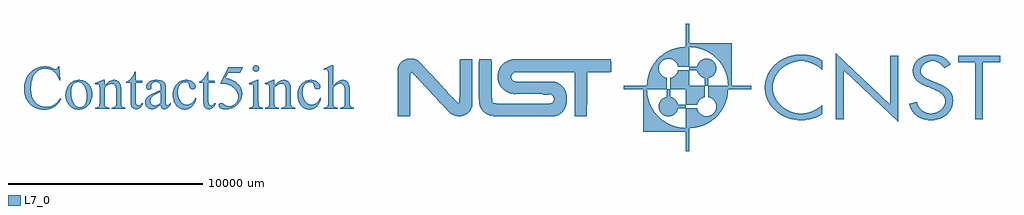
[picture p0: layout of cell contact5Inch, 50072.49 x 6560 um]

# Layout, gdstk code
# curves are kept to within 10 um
import gdstk
lib = gdstk.Library(unit=1e-6, precision=1e-09)
def P(c, l, *ps):  # polygons
    for p in ps: c.add(gdstk.Polygon(p, *l))
L7_0 = (7, 0)

contact5inch = lib.new_cell('contact5Inch')
P(contact5inch, L7_0, [(-5661.344,-58043.75),(-5850.522,-58018.573),(-6028.047,-57932.812),(-5521.695,-57925),(-5396.695,-57862.5),(-5310.703,-57754.62),(-5270.328,-57637.891),(-5251.871,-57519.238),(-5255.973,-57197.656),(-5309.806,-56965.039),(-5423.886,-56759.961),(-5501.554,-56686.719),(-5591.123,-56642.773),(-5692.594,-56628.125),(-5796.415,-56647.351),(-5879.398,-56690.808),(-5950.98,-56767.859),(-6006.241,-56881.958),(-6032.828,-56991.016),(-6045.719,-57167.187),(-6033.588,-57354.108),(-5997.196,-57524.243),(-5950.614,-57648.267),(-5872.144,-57783.246),(-5797.705,-57861.127),(-5713.404,-57910.687),(-5594.156,-57932.812),(-6028.047,-57932.812),(-6099.253,-57873.553),(-6213.126,-57730.811),(-6285.422,-57585.73),(-6326.285,-57430.273),(-6334.818,-57249.255),(-6311.93,-57102.148),(-6261.576,-56955.701),(-6186.002,-56816.113),(-6092.508,-56703.54),(-5981.656,-56619.531),(-5859.488,-56562.878),(-5732.047,-56532.373),(-5604.032,-56527.527),(-5453.543,-56550.671),(-5351.187,-56588.281),(-5228.727,-56665.43),(-5122.281,-56773.437),(-5049.137,-56882.812),(-4987.094,-57030.518),(-4960.971,-57157.471),(-4956.534,-57305.933),(-4978.141,-57451.172),(-5025.675,-57597.729),(-5097.721,-57739.258),(-5189.676,-57855.127),(-5261.844,-57917.236),(-5384.342,-57987.5),(-5517.679,-58029.687)],
  [(-4801.969,-58000),(-4801.969,-57943.75),(-4661.771,-57922.083),(-4623.062,-57888.281),(-4599.735,-57832.507),(-4585.379,-57714.05),(-4585.514,-57029.004),(-4593.753,-56848.462),(-4621.109,-56767.09),(-4697.281,-56734.375),(-4801.969,-56757.812),(-4825.406,-56701.562),(-4394.156,-56526.562),(-4326.969,-56526.562),(-4326.969,-56829.687),(-4141.593,-56644.971),(-3962.809,-56545.508),(-3875.888,-56527.747),(-3790.738,-56530.225),(-3689.957,-56559.521),(-3625.162,-56600.989),(-3538.492,-56715.674),(-3485.562,-56896.875),(-3464.664,-57831.25),(-3445.182,-57879.395),(-3399.625,-57921.875),(-3258.219,-57943.75),(-3258.219,-58000),(-3966.031,-58000),(-3966.031,-57943.75),(-3834.842,-57931.848),(-3770.023,-57886.365),(-3741.031,-57823.437),(-3734.781,-57676.562),(-3735.575,-57043.469),(-3754.618,-56888.293),(-3815.299,-56768.408),(-3876.2,-56731.165),(-3956.656,-56718.75),(-4049.527,-56731.445),(-4142.203,-56769.531),(-4326.969,-56921.875),(-4317.301,-57832.129),(-4297.818,-57877.393),(-4249.625,-57922.656),(-4094.156,-57943.75),(-4094.156,-58000)],
  [(-1900.469,-58029.687),(-1971.416,-58023.34),(-2065.569,-57990.015),(-2145,-57928.125),(-2200.572,-57848.437),(-1709.551,-57842.944),(-1578.984,-57787.402),(-1444.219,-57692.187),(-1444.219,-57146.875),(-1806.23,-57314.453),(-1894.512,-57386.328),(-1957.842,-57481.665),(-1977.544,-57615.027),(-1940.801,-57734.717),(-1858.159,-57819.446),(-1756.719,-57848.437),(-2200.572,-57848.437),(-2239.592,-57701.343),(-2222.783,-57541.064),(-2156.279,-57427.344),(-2009.734,-57303.32),(-1823.064,-57203.662),(-1444.219,-57051.562),(-1461.211,-56814.844),(-1503.957,-56712.048),(-1571.843,-56653.003),(-1678.386,-56623.12),(-1798.125,-56635.156),(-1866.094,-56675),(-1910.625,-56732.031),(-1924.541,-56779.932),(-1924.639,-56921.387),(-1942.998,-56976.855),(-1989.788,-57022.241),(-2055.156,-57037.5),(-2119.182,-57021.631),(-2172.063,-56962.231),(-2186.406,-56885.937),(-2172.979,-56804.089),(-2081.133,-56667.529),(-1993.444,-56600.83),(-1907.36,-56562.158),(-1662.969,-56526.562),(-1529.668,-56535.571),(-1415.703,-56562.598),(-1328.179,-56603.589),(-1270.391,-56652.734),(-1202.227,-56784.57),(-1188.164,-56922.07),(-1184.453,-57668.164),(-1168.242,-57792.383),(-1133.477,-57827.344),(-1077.422,-57825.098),(-941.094,-57706.25),(-941.094,-57793.75),(-1070.146,-57936.572),(-1215.154,-58019.885),(-1311.797,-58024.805),(-1385.527,-57987.451),(-1431.719,-57903.125),(-1444.219,-57793.75),(-1720.781,-57990.625),(-1807.891,-58019.922)],
  [(-219.531,-58043.75),(-337.5,-58030.957),(-473.975,-57978.986),(-598.242,-57887.036),(-687.012,-57785.645),(-754.98,-57665.332),(-800.293,-57527.051),(-822.949,-57370.801),(-822.644,-57203.54),(-806.174,-57087.36),(-762.253,-56946.295),(-693.234,-56821.051),(-599.588,-56711.957),(-491.653,-56626.263),(-373.66,-56566.937),(-245.609,-56533.978),(-91.406,-56528.308),(91.406,-56570.203),(235.767,-56666.345),(326.569,-56795.956),(339.844,-56870.312),(330.273,-56924.023),(301.563,-56966.406),(255.664,-56993.945),(131.763,-56994.775),(49.109,-56934.619),(0.195,-56737.5),(-72.949,-56657.617),(-148.73,-56634.18),(-232.642,-56633.057),(-319.586,-56653.381),(-380.573,-56685.901),(-446.094,-56746.875),(-501.465,-56829.59),(-564.746,-57031.934),(-560.373,-57305.844),(-489.621,-57528.256),(-414.05,-57649.866),(-319.919,-57737.955),(-208.545,-57787.744),(-69.238,-57798.364),(38.281,-57773.828),(137.012,-57719.849),(231.763,-57624.927),(335.156,-57434.375),(380.469,-57456.25),(308.649,-57678.738),(248.541,-57783.45),(174.567,-57871.854),(-0.629,-57995.547),(-95.111,-58028.873)],
  [(3089.469,-58000),(3089.469,-57943.75),(3230.094,-57923.437),(3275.65,-57878.027),(3296.354,-57827.441),(3307.34,-57018.848),(3297.452,-56843.188),(3270.719,-56765.576),(3195.719,-56734.375),(3089.469,-56757.812),(3067.594,-56701.562),(3498.844,-56526.562),(3567.594,-56526.562),(3575.223,-57809.436),(3598.063,-57876.318),(3644.938,-57921.875),(3784.781,-57943.75),(3784.781,-58000)],
  [(3905.031,-58000),(3905.031,-57943.75),(4045.229,-57922.083),(4083.938,-57888.281),(4107.265,-57832.507),(4121.621,-57714.05),(4121.486,-57029.004),(4113.247,-56848.462),(4085.891,-56767.09),(4009.719,-56734.375),(3905.031,-56757.812),(3881.594,-56701.562),(4312.844,-56526.562),(4380.031,-56526.562),(4380.031,-56829.687),(4565.407,-56644.971),(4744.191,-56545.508),(4831.112,-56527.747),(4916.262,-56530.225),(5017.043,-56559.521),(5081.838,-56600.989),(5168.508,-56715.674),(5221.438,-56896.875),(5242.336,-57831.25),(5261.818,-57879.395),(5307.375,-57921.875),(5448.781,-57943.75),(5448.781,-58000),(4740.969,-58000),(4740.969,-57943.75),(4872.158,-57931.848),(4936.977,-57886.365),(4965.969,-57823.437),(4972.219,-57676.562),(4971.425,-57043.469),(4952.382,-56888.293),(4891.701,-56768.408),(4830.8,-56731.165),(4750.344,-56718.75),(4657.473,-56731.445),(4564.797,-56769.531),(4380.031,-56921.875),(4389.699,-57832.129),(4409.182,-57877.393),(4457.375,-57922.656),(4612.844,-57943.75),(4612.844,-58000)],
  [(6178.469,-58043.75),(6060.5,-58030.957),(5924.025,-57978.986),(5799.758,-57887.036),(5710.988,-57785.645),(5643.02,-57665.332),(5597.707,-57527.051),(5575.051,-57370.801),(5575.356,-57203.54),(5591.826,-57087.36),(5635.747,-56946.295),(5704.766,-56821.051),(5798.412,-56711.957),(5906.347,-56626.263),(6024.34,-56566.937),(6152.391,-56533.978),(6306.594,-56528.308),(6489.406,-56570.203),(6633.767,-56666.345),(6724.569,-56795.956),(6737.844,-56870.312),(6728.273,-56924.023),(6699.563,-56966.406),(6653.664,-56993.945),(6529.763,-56994.775),(6447.109,-56934.619),(6398.195,-56737.5),(6325.051,-56657.617),(6249.27,-56634.18),(6165.358,-56633.057),(6078.414,-56653.381),(6017.427,-56685.901),(5951.906,-56746.875),(5896.535,-56829.59),(5833.254,-57031.934),(5837.627,-57305.844),(5908.379,-57528.256),(5983.95,-57649.866),(6078.081,-57737.955),(6189.455,-57787.744),(6328.762,-57798.364),(6436.281,-57773.828),(6535.012,-57719.849),(6629.763,-57624.927),(6733.156,-57434.375),(6778.469,-57456.25),(6706.649,-57678.738),(6646.541,-57783.45),(6572.567,-57871.854),(6397.371,-57995.547),(6302.889,-58028.873)],
  [(-2711.344,-58023.437),(-2799.967,-58007.874),(-2884.098,-57961.523),(-2944.767,-57887.549),(-2973.526,-57802.551),(-2986.344,-57640.625),(-2986.344,-56678.125),(-3212.906,-56678.125),(-3212.906,-56626.562),(-3059.525,-56529.919),(-2932.45,-56395.715),(-2857.242,-56279.785),(-2776.969,-56098.437),(-2728.531,-56098.437),(-2728.531,-56568.75),(-2394.156,-56568.75),(-2394.156,-56678.125),(-2728.531,-56678.125),(-2728.531,-57606.25),(-2712.967,-57744.678),(-2655.619,-57823.267),(-2573.502,-57841.687),(-2474.576,-57801.672),(-2411.344,-57715.625),(-2350.406,-57715.625),(-2416.422,-57849.805),(-2480.802,-57925.574),(-2580.973,-57993.225)],
  [(1017.656,-58023.437),(929.033,-58007.874),(844.902,-57961.523),(784.233,-57887.549),(755.474,-57802.551),(742.656,-57640.625),(742.656,-56678.125),(516.094,-56678.125),(516.094,-56626.562),(669.475,-56529.919),(796.55,-56395.715),(871.758,-56279.785),(952.031,-56098.437),(1000.469,-56098.437),(1000.469,-56568.75),(1334.844,-56568.75),(1334.844,-56678.125),(1000.469,-56678.125),(1000.469,-57606.25),(1016.033,-57744.678),(1073.381,-57823.267),(1155.498,-57841.687),(1254.424,-57801.672),(1317.656,-57715.625),(1378.594,-57715.625),(1312.578,-57849.805),(1248.198,-57925.574),(1148.027,-57993.225)],
  [(1891.031,-58037.5),(1726.383,-58021.289),(1613.688,-57972.656),(1560.843,-57922.156),(1532.389,-57867.92),(1527.53,-57818.909),(1547.184,-57769.775),(1603.531,-57727.148),(1691.617,-57721.875),(1916.861,-57844.824),(2036.002,-57875.293),(2154.654,-57867.92),(2277.152,-57822.546),(2403.87,-57720.761),(2490.836,-57584.961),(2524.866,-57426.132),(2508.048,-57261.047),(2455.973,-57127.783),(2401.969,-57042.969),(2334.391,-56964.502),(2211.051,-56864.563),(1968.473,-56754.492),(1800.235,-56721.24),(1597.281,-56704.687),(2003.531,-55881.25),(2762.906,-55881.25),(2641.031,-56146.875),(2003.531,-56146.875),(1864.469,-56431.25),(2060.758,-56473.34),(2235.563,-56538.672),(2388.883,-56627.246),(2489.774,-56708.929),(2591.343,-56821.387),(2662.778,-56939.355),(2715.543,-57100),(2728.531,-57239.062),(2711.539,-57400),(2676.493,-57512.5),(2604.642,-57649.146),(2489.469,-57790.625),(2351.407,-57900.366),(2214.713,-57971.704),(2077.75,-58016.016)],
  [(-7431.281,-58048.437),(-7737.189,-58010.291),(-7948.518,-57924.841),(-8130.158,-57790.564),(-8297.443,-57583.545),(-8394.306,-57383.777),(-8454.951,-57117.468),(-8453.645,-56818.066),(-8395.325,-56561.676),(-8283.125,-56326.086),(-8151.398,-56154.883),(-7989.57,-56017.297),(-7801.447,-55914.99),(-7564.475,-55847.079),(-7327.082,-55834.57),(-7099.738,-55876.758),(-6837.531,-55979.687),(-6764.094,-55950),(-6706.281,-55832.812),(-6651.594,-55832.812),(-6603.156,-56553.125),(-6651.594,-56553.125),(-6752.21,-56304.81),(-6823.939,-56194.067),(-6906.019,-56105.981),(-7073.029,-56000.854),(-7297.639,-55947.534),(-7411.506,-55946.985),(-7560.187,-55972.07),(-7761.661,-56066.22),(-7840.006,-56131.674),(-7925.166,-56235.876),(-8031.513,-56454.126),(-8068.134,-56585.571),(-8100.178,-56809.473),(-8104.841,-57047.241),(-8083.234,-57244.922),(-8035.7,-57421.069),(-7976.255,-57550.641),(-7898.664,-57661.328),(-7781.586,-57768.774),(-7640.9,-57847.656),(-7484.858,-57895.117),(-7314.094,-57910.937),(-7119.953,-57888.867),(-6990.241,-57843.347),(-6869.172,-57767.627),(-6740.559,-57644.25),(-6603.156,-57471.875),(-6554.719,-57503.125),(-6727.375,-57748.047),(-6926.594,-57917.187),(-7159.016,-58015.625)],
  [(3437.906,-56095.312),(3376.969,-56083.594),(3325.406,-56048.437),(3290.25,-55996.875),(3278.531,-55935.937),(3290.055,-55875.195),(3324.625,-55824.219),(3375.992,-55789.648),(3437.906,-55778.125),(3498.648,-55789.648),(3549.625,-55824.219),(3584.195,-55875.195),(3595.719,-55935.937),(3584.195,-55996.875),(3549.625,-56048.437),(3498.648,-56083.594)],
  [(6925.031,-58000),(6925.031,-57943.75),(7028.303,-57932.153),(7103.156,-57891.406),(7139.094,-57788.281),(7143.049,-56270.41),(7134.809,-56096.704),(7107.453,-56015.527),(7031.281,-55982.812),(6925.031,-56007.812),(6903.156,-55953.125),(7331.281,-55778.125),(7403.156,-55778.125),(7403.156,-56825),(7622.883,-56615.967),(7779.719,-56540.039),(7881.281,-56526.562),(7967.854,-56536.011),(8068.244,-56578.003),(8131.574,-56632.129),(8196.418,-56737.598),(8238.435,-56902.979),(8262.336,-57832.129),(8281.086,-57880.273),(8325.031,-57921.875),(8462.531,-57943.75),(8462.531,-58000),(7759.406,-58000),(7759.406,-57943.75),(7893.415,-57931.848),(7957.282,-57886.365),(7985.969,-57823.437),(7990.656,-57676.562),(7989.143,-57063.184),(7972.114,-56883.374),(7944.208,-56812.585),(7901.923,-56762.097),(7846.174,-56729.968),(7760.969,-56715.625),(7662.824,-56731.494),(7580.378,-56767.7),(7403.156,-56920.312),(7412.385,-57834.473),(7429.523,-57876.611),(7480.5,-57919.531),(7634.406,-57943.75),(7634.406,-58000)],
  [(24598.156,-58393.281),(24406.814,-58355.223),(24262.377,-58263.758),(24146.162,-58107.059),(24098.758,-57917.816),(24119.686,-57748.141),(24211.65,-57576.086),(24341.105,-57464.418),(24513.156,-57400.711),(24513.156,-56993.281),(24683.156,-56993.281),(24683.156,-57400.711),(24833.855,-57452.32),(24951.709,-57539.727),(25039.117,-57657.582),(25090.727,-57808.281),(25498.156,-57808.281),(25498.156,-57978.281),(25090.727,-57978.281),(25027.021,-58150.332),(24915.354,-58279.785),(24766.602,-58364.055)],
  [(25498.156,-57808.281),(25498.156,-56993.281),(24683.156,-56993.281),(24683.156,-56425.852),(24833.855,-56374.242),(24951.709,-56286.836),(25039.117,-56168.98),(25090.727,-56018.281),(25658.156,-56018.281),(25658.156,-56833.281),(26473.156,-56833.281),(26473.156,-57400.711),(26322.457,-57452.32),(26204.604,-57539.727),(26117.195,-57657.582),(26065.586,-57808.281)],
  [(17752.07,-58390.695),(15579.829,-58373.553),(15447.032,-58341.84),(15312.375,-58285.877),(15191.921,-58212.427),(15089.184,-58123.925),(15004.905,-58018.534),(14936.105,-57886.17),(14904.405,-57778.775),(14886.983,-57633.053),(14874.485,-55997.306),(14880.341,-55585.174),(14896.646,-55472.909),(15320.623,-55459.215),(15484.492,-55467.652),(15512.742,-55484.876),(15529.627,-55813.282),(15548.286,-57472.61),(15557.984,-57648.014),(15577.04,-57691.001),(15651.967,-57722.24),(15848.858,-57736.857),(17139.76,-57743.824),(18278.833,-57741.636),(18584.074,-57728.26),(18660.696,-57678.521),(18717.072,-57597.449),(18735.383,-57509.599),(18717.77,-57419.78),(18654.172,-57316.101),(18513.856,-57283.929),(16917.563,-57259.356),(16608.806,-57240.84),(16435.048,-57186.935),(16187.745,-57041.483),(16022.523,-56884.145),(15908.765,-56709.356),(15850.207,-56508.66),(15842.509,-56289.948),(15889.553,-56059.24),(15990.765,-55849.388),(16120.232,-55702.036),(16307.434,-55579.589),(16529.883,-55495.104),(16728.868,-55470.071),(20026.025,-55456.673),(21638.849,-55472.909),(21654.451,-55612.461),(21651.639,-56116.344),(20430.4,-56136.184),(20414.76,-58383.824),(19790.4,-58383.824),(19782.4,-56128.383),(16712.4,-56128.383),(16644.242,-56174.983),(16549.541,-56286.273),(16529.654,-56411.889),(16583.824,-56518.684),(16715.561,-56604.465),(18435.672,-56618.636),(18792.554,-56634.438),(18942.933,-56693.406),(19086.488,-56789.427),(19200.25,-56906.656),(19289.737,-57048.125),(19349.23,-57195.043),(19373.889,-57314.644),(19382.462,-57522.677),(19365.313,-57726.132),(19326.066,-57872.04),(19265.922,-58006.872),(19188.029,-58124.376),(19093.828,-58222.894),(18941.694,-58323.647),(18780.421,-58376.002)],
  [(11017.399,-58391.664),(10744.725,-58384.7),(10708.861,-58375.487),(10704.238,-58354.28),(10715.8,-55960.523),(10731.599,-55872.638),(10783.183,-55762.869),(10847.339,-55671.14),(10932.461,-55586.739),(11116.378,-55477.442),(11294.147,-55437.09),(11552.568,-55450.214),(11647.991,-55480.615),(11749.999,-55535.713),(12210.91,-56009.076),(13756.428,-57670.323),(13804.353,-57716.642),(13849.994,-57732.364),(13869.875,-57702.055),(13878.565,-57542.139),(13884.561,-55828.146),(13899.782,-55496.297),(13927.972,-55470.146),(14014.922,-55459.843),(14519.691,-55470.868),(14535.259,-55884.597),(14530.399,-57899.945),(14427.758,-58087.5),(14302.025,-58222.36),(14204.307,-58289.446),(14093.927,-58339.775),(13975.443,-58373.002),(13862.577,-58384.082),(13637.597,-58345.787),(13408.293,-58229.6),(12997.683,-57809.338),(11584.672,-56291.588),(11441.615,-56145.996),(11412.893,-56138.296),(11371.387,-56158.357),(11359.113,-56291.332),(11339.342,-58356.338),(11323.014,-58377.354),(11282.682,-58386.804)],
  [(26473.156,-56833.281),(26473.156,-56425.852),(26322.457,-56374.242),(26204.604,-56286.836),(26117.195,-56168.98),(26065.586,-56018.281),(25658.156,-56018.281),(25658.156,-55848.281),(26065.586,-55848.281),(26129.291,-55676.23),(26260.307,-55531.676),(26436.666,-55448.266),(26607.164,-55435.687),(26793.855,-55492.32),(26944.662,-55616.086),(27036.627,-55788.141),(27055.748,-55982.289),(27010.15,-56147.059),(26928.631,-56269.062),(26793.855,-56374.242),(26643.156,-56425.852),(26643.156,-56833.281)],
  [(40335.555,-58534.383),(40335.555,-55619.703),(39470.117,-55619.703),(39470.117,-55283.621),(41609.957,-55283.621),(41609.957,-55619.703),(40735.117,-55619.703),(40735.117,-58534.383)],
  [(31414.951,-58590.34),(31055.151,-58558.538),(30706.135,-58463.307),(30378.612,-58305.692),(30092.873,-58094.999),(29857.898,-57838.548),(29687.01,-57553.085),(29582.76,-57248.371),(29546.355,-56922.062),(29582.218,-56592.148),(29689.504,-56273.843),(29860.561,-55985.041),(30095.616,-55725.491),(30381.877,-55512.373),(30700.393,-55357.284),(31051.438,-55260.014),(31415.275,-55227.5),(31706.115,-55247.055),(31980.481,-55306.236),(32239.705,-55405.82),(32485.117,-55546.582),(32485.117,-55995.02),(32321.243,-55861.27),(32131.055,-55745.352),(31933.66,-55659.106),(31724.644,-55599.305),(31507.148,-55568.053),(31298.476,-55566.631),(31091.092,-55593.999),(30885.862,-55651.41),(30686.814,-55739.689),(30505.529,-55854.03),(30344.774,-55991.397),(30207.314,-56148.752),(30095.915,-56323.06),(30013.344,-56511.283),(29962.365,-56710.386),(29945.717,-56908.941),(29962.485,-57107.521),(30011.143,-57298.854),(30093.077,-57487.562),(30204.143,-57662.464),(30341.55,-57820.527),(30502.506,-57958.718),(30684.22,-58074.005),(30883.902,-58163.355),(31089.908,-58221.915),(31298.169,-58250.499),(31504.782,-58250.177),(31709.823,-58221.048),(31917.477,-58162.181),(32123.146,-58072.982),(32313.675,-57958.78),(32485.117,-57822.98),(32485.117,-58271.422),(32240.971,-58406.623),(31976.837,-58506.766),(31699.382,-58568.966)],
  [(38072.156,-58590.34),(37869.931,-58575.845),(37676.661,-58531.75),(37501.044,-58460.008),(37345.029,-58362.593),(37206.733,-58237.328),(37096.539,-58093.829),(37011.857,-57930.631),(36954.637,-57749.703),(37344.637,-57650.621),(37372.243,-57764.472),(37421.063,-57878.137),(37488.469,-57981.352),(37573.017,-58071.639),(37772.718,-58197.469),(38009.276,-58252.294),(38239.638,-58235.126),(38450.279,-58158.305),(38624.326,-58030.288),(38742.268,-57866.799),(38792.712,-57708.54),(38794.885,-57544.089),(38752.891,-57398.122),(38663.881,-57269.713),(38558.233,-57180.06),(38418.458,-57097.453),(37747.969,-56812.665),(37466.472,-56655.248),(37353.644,-56563.102),(37261.1,-56456.65),(37195.938,-56341.252),(37155.642,-56213.028),(37141.325,-56014.372),(37174.823,-55827.502),(37254.051,-55657.684),(37376.359,-55509.157),(37542.899,-55383.745),(37740.005,-55293.292),(37959.654,-55240.596),(38190.227,-55228.346),(38455.693,-55268.04),(38700.429,-55368.307),(38907.912,-55524.406),(39070.875,-55731.902),(38752.156,-55917.34),(38594.775,-55724.807),(38508.35,-55659.336),(38410.211,-55610.246),(38297.963,-55578.328),(38169.206,-55564.371),(38045.84,-55569.143),(37926.844,-55594.301),(37738.235,-55688.218),(37603.147,-55835.742),(37562.897,-55923.415),(37542.073,-56020.185),(37542.431,-56112.819),(37565.868,-56199.972),(37653.23,-56326.249),(37805.241,-56439.782),(38610.992,-56790.435),(38789.512,-56889.2),(38928.682,-56991.341),(39052.562,-57122.063),(39138.161,-57268.961),(39186.214,-57432.102),(39198.422,-57619.131),(39171.724,-57811.081),(39105.116,-57994.249),(38999.06,-58163.77),(38859.575,-58309.929),(38691.17,-58429.191),(38498.356,-58518.023),(38292.544,-58571.725)],
  [(36379.477,-58680.941),(33583.395,-56029.383),(33583.395,-58534.383),(33183.996,-58534.383),(33183.996,-55145.621),(35979.957,-57801.422),(35979.957,-55283.621),(36379.477,-55283.621)],
  [(25498.156,-60193.281),(25498.156,-59173.281),(23318.156,-59173.281),(23318.156,-58993.281),(25498.156,-58993.281),(25498.156,-57978.281),(26065.586,-57978.281),(26117.195,-58128.98),(26204.604,-58246.836),(26322.457,-58334.242),(26460.611,-58383.676),(26582.689,-58392.68),(26679.646,-58378.297),(26793.855,-58334.242),(26893.936,-58263.758),(26987.021,-58150.332),(27036.627,-58038.422),(27057.555,-57917.816),(27048.549,-57795.734),(26999.117,-57657.582),(26911.709,-57539.727),(26793.855,-57452.32),(26643.156,-57400.711),(26643.156,-56833.281),(27658.156,-56833.281),(27619.727,-56443.102),(27515.168,-56090.648),(27347.863,-55763.285),(27106.65,-55454.199),(26945.818,-55302.945),(26789.619,-55184.102),(26446.141,-54995.055),(26262.168,-54926.668),(26048.336,-54871.711),(25658.156,-54833.281),(25658.156,-55848.281),(25090.727,-55848.281),(25060.096,-55741.941),(24999.76,-55635.43),(24915.354,-55546.777),(24811.934,-55481.285),(24695.701,-55442.887),(24573.623,-55433.883),(24476.666,-55448.266),(24362.457,-55492.32),(24244.604,-55579.727),(24157.195,-55697.582),(24107.764,-55835.734),(24100.564,-55982.289),(24146.162,-56147.059),(24227.682,-56269.062),(24362.457,-56374.242),(24513.156,-56425.852),(24513.156,-56993.281),(23498.156,-56993.281),(23536.586,-57383.461),(23650.396,-57758.648),(23835.217,-58104.422),(24083.943,-58407.496),(24387.016,-58656.219),(24732.789,-58841.039),(25107.977,-58954.852),(25498.156,-58993.281),(23318.156,-58993.281),(23318.156,-56993.281),(22298.156,-56993.281),(22298.156,-56833.281),(23498.156,-56833.281),(23536.586,-56443.102),(23650.396,-56067.914),(23835.217,-55722.141),(24083.943,-55419.066),(24387.016,-55170.344),(24732.789,-54985.523),(25107.977,-54871.711),(25498.156,-54833.281),(25498.156,-53633.281),(25658.156,-53633.281),(25658.156,-54653.281),(27838.156,-54653.281),(27838.156,-56833.281),(28858.156,-56833.281),(28858.156,-56993.281),(27658.156,-56993.281),(27619.727,-57383.461),(27505.916,-57758.648),(27321.096,-58104.422),(27072.369,-58407.496),(26769.297,-58656.219),(26423.523,-58841.039),(26048.336,-58954.852),(25658.156,-58993.281),(25658.156,-60193.281)])

lib.write_gds('contact5Inch.gds')
